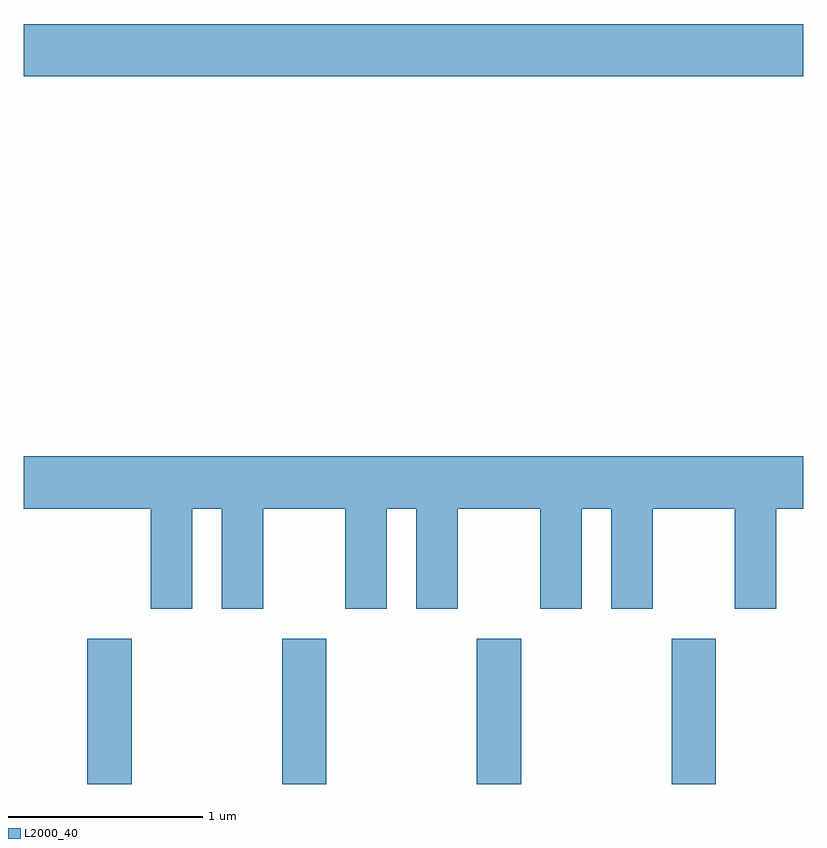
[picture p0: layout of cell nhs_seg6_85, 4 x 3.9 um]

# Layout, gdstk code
import gdstk
lib = gdstk.Library(unit=1e-6, precision=1e-09)
def R(c, l, rs):  # rectangles x0, y0, x1, y1
    for r in rs: c.add(gdstk.rectangle(r[:2], r[2:], *l))
def A(c, l, x, y, w, h, nx, ny, dx, dy):  # array of equal rectangles
    R(c, l, [(x+i*dx, y+j*dy, x+i*dx+w, y+j*dy+h) for i in range(nx) for j in range(ny)])
def P(c, l, *ps):  # polygons
    for p in ps: c.add(gdstk.Polygon(p, *l))
L2000_40 = (2000, 40)

nhs_seg6_85 = lib.new_cell('nhs_seg6_85')
A(nhs_seg6_85, L2000_40, 187.936, 1564.162, 0.228, 0.747, 4, 1, 1, 0)
R(nhs_seg6_85, L2000_40, [(187.611,1567.796,191.611,1568.064)])
P(nhs_seg6_85, L2000_40, [(188.474,1565.576),(188.626,1565.576),(188.626,1565.061),(188.839,1565.061),(188.839,1565.576),(189.261,1565.576),(189.261,1565.061),(189.474,1565.061),(189.474,1565.576),(189.626,1565.576),(189.626,1565.061),(189.839,1565.061),(189.839,1565.576),(190.261,1565.576),(190.261,1565.061),(190.474,1565.061),(190.474,1565.576),(190.626,1565.576),(190.626,1565.061),(190.839,1565.061),(190.839,1565.576),(191.261,1565.576),(191.261,1565.061),(191.474,1565.061),(191.474,1565.576),(191.611,1565.576),(191.611,1565.844),(187.611,1565.844),(187.611,1565.576),(188.261,1565.576),(188.261,1565.061),(188.474,1565.061)])

lib.write_gds('nhs_seg6_85.gds')
